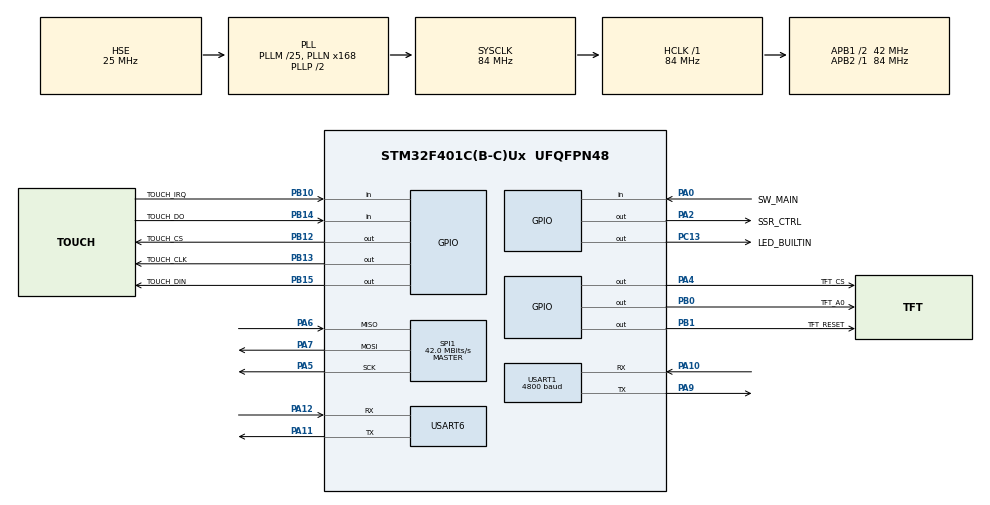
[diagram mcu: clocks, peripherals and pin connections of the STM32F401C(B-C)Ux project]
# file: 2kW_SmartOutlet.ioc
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Dma.Request0=USART1_RX
Dma.USART1_RX.0.Direction=DMA_PERIPH_TO_MEMORY
Dma.USART1_RX.0.FIFOMode=DMA_FIFOMODE_DISABLE
Dma.USART1_RX.0.Instance=DMA2_Stream2
Dma.USART1_RX.0.MemDataAlignment=DMA_MDATAALIGN_BYTE
Dma.USART1_RX.0.MemInc=DMA_MINC_ENABLE
Dma.USART1_RX.0.Mode=DMA_CIRCULAR
Dma.USART1_RX.0.PeriphDataAlignment=DMA_PDATAALIGN_BYTE
Dma.USART1_RX.0.PeriphInc=DMA_PINC_DISABLE
Dma.USART1_RX.0.Priority=DMA_PRIORITY_MEDIUM
Mcu.Family=STM32F4
Mcu.Name=STM32F401C(B-C)Ux
Mcu.Package=UFQFPN48
NVIC.DMA2_Stream2_IRQn=true\:0\:0\:false\:false\:true\:false\:true\:true
NVIC.PriorityGroup=NVIC_PRIORITYGROUP_4
NVIC.USART1_IRQn=true\:0\:0\:false\:false\:true\:true\:true\:true
NVIC.USART6_IRQn=true\:0\:0\:false\:false\:true\:true\:true\:true
PA0-WKUP.GPIO_Label=SW_MAIN
PA0-WKUP.GPIO_PuPd=GPIO_PULLDOWN
PA0-WKUP.Signal=GPIO_Input
PA10.Mode=Asynchronous
PA10.Signal=USART1_RX
PA11.Mode=Asynchronous
PA11.Signal=USART6_TX
PA12.Mode=Asynchronous
PA12.Signal=USART6_RX
PA13.Mode=Serial_Wire
PA13.Signal=SYS_JTMS-SWDIO
PA14.Mode=Serial_Wire
PA14.Signal=SYS_JTCK-SWCLK
PA2.GPIO_Label=SSR_CTRL
PA2.GPIO_PuPd=GPIO_PULLDOWN
PA2.GPIO_Speed=GPIO_SPEED_FREQ_VERY_HIGH
PA2.Signal=GPIO_Output
PA4.GPIO_Label=TFT_CS
PA4.GPIO_Speed=GPIO_SPEED_FREQ_VERY_HIGH
PA4.PinState=GPIO_PIN_RESET
PA4.Signal=GPIO_Output
PA5.Mode=Full_Duplex_Master
PA5.Signal=SPI1_SCK
PA6.Mode=Full_Duplex_Master
PA6.Signal=SPI1_MISO
PA7.Mode=Full_Duplex_Master
PA7.Signal=SPI1_MOSI
PA9.Mode=Asynchronous
PA9.Signal=USART1_TX
PB0.GPIO_Label=TFT_A0
PB0.GPIO_Speed=GPIO_SPEED_FREQ_VERY_HIGH
PB0.Signal=GPIO_Output
PB1.GPIO_Label=TFT_RESET
PB1.GPIO_Speed=GPIO_SPEED_FREQ_VERY_HIGH
PB1.Signal=GPIO_Output
PB10.GPIO_Label=TOUCH_IRQ
PB10.GPIO_PuPd=GPIO_PULLUP
PB10.Signal=GPIO_Input
PB12.GPIO_Label=TOUCH_CS
PB12.GPIO_Speed=GPIO_SPEED_FREQ_VERY_HIGH
PB12.Signal=GPIO_Output
PB13.GPIO_Label=TOUCH_CLK
PB13.GPIO_Speed=GPIO_SPEED_FREQ_VERY_HIGH
PB13.Signal=GPIO_Output
PB14.GPIO_Label=TOUCH_DO
PB14.GPIO_PuPd=GPIO_PULLUP
PB14.Signal=GPIO_Input
PB15.GPIO_Label=TOUCH_DIN
PB15.GPIO_Speed=GPIO_SPEED_FREQ_VERY_HIGH
PB15.Signal=GPIO_Output
PC13-ANTI_TAMP.GPIO_Label=LED_BUILTIN
PC13-ANTI_TAMP.Signal=GPIO_Output
PH0\ -\ OSC_IN.Mode=HSE-External-Oscillator
PH0\ -\ OSC_IN.Signal=RCC_OSC_IN
PH1\ -\ OSC_OUT.Mode=HSE-External-Oscillator
PH1\ -\ OSC_OUT.Signal=RCC_OSC_OUT
ProjectManager.HeapSize=0x200
ProjectManager.StackSize=0x400
ProjectManager.TargetToolchain=CMake
RCC.48MHZClocksFreq_Value=42000000
RCC.AHBFreq_Value=84000000
RCC.APB1CLKDivider=RCC_HCLK_DIV2
RCC.APB1Freq_Value=42000000
RCC.APB1TimFreq_Value=84000000
RCC.APB2Freq_Value=84000000
RCC.APB2TimFreq_Value=84000000
RCC.CortexFreq_Value=84000000
RCC.HCLKFreq_Value=84000000
RCC.HSE_VALUE=25000000
RCC.HSI_VALUE=16000000
RCC.LSE_VALUE=32768
RCC.PLLM=25
RCC.PLLN=168
RCC.PLLSourceVirtual=RCC_PLLSOURCE_HSE
RCC.SYSCLKFreq_VALUE=84000000
RCC.SYSCLKSource=RCC_SYSCLKSOURCE_PLLCLK
RCC.VCOOutputFreq_Value=168000000
SPI1.BaudRatePrescaler=SPI_BAUDRATEPRESCALER_2
SPI1.CalculateBaudRate=42.0 MBits/s
SPI1.Direction=SPI_DIRECTION_2LINES
SPI1.Mode=SPI_MODE_MASTER
SPI1.VirtualType=VM_MASTER
USART1.BaudRate=4800
USART1.Mode=MODE_RX
USART1.Parity=PARITY_EVEN
USART1.VirtualMode=VM_ASYNC
USART6.VirtualMode=VM_ASYNC
VP_RTC_VS_RTC_Activate.Mode=RTC_Enabled
VP_RTC_VS_RTC_Calendar.Mode=RTC_Calendar
board=custom

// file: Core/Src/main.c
/* USER CODE BEGIN Header */
/**
  ******************************************************************************
  * @file           : main.c
  * @brief          : Main program body
  ******************************************************************************
  * @attention
  *
  * Copyright (c) 2026 STMicroelectronics.
  * All rights reserved.
  *
  * This software is licensed under terms that can be found in the LICENSE file
  * in the root directory of this software component.
  * If no LICENSE file comes with this software, it is provided AS-IS.
  *
  ******************************************************************************
  */
/* USER CODE END Header */
#include "main.h"
#include "dma.h"
#include "rtc.h"
#include "spi.h"
#include "usart.h"
#include "gpio.h"

/* USER CODE BEGIN Includes */
#include "hlw8032.h"
#include <stdio.h>      /* snprintf, for the debug line on USART6 */
/* USER CODE END Includes */

/* USER CODE BEGIN PD */
#define HLW_UART         huart1
#define HLW_RX_SIZE    128u                     /* ~293 ms of data at 4800 8E1        */
#define HLW_FRAME_LEN    HLW8032_FRAME_LENGTH

/* Byte positions inside a frame (datasheet REV 1.5) */
#define HLW_CHECK_BYTE     0x5Au                  /* value of Check REG                 */
#define HLW_IDX_CHECK      1u                     /* Check REG                          */
#define HLW_IDX_SUM_FIRST  2u                     /* checksum covers bytes 2 ...        */
#define HLW_IDX_SUM_LAST   22u                    /* ... to 22                          */
#define HLW_IDX_CHECKSUM   23u                    /* CheckSum REG                       */
/* USER CODE END PD */

/* USER CODE BEGIN PV */
/** Set the coefficient to be matched with hardware configuration
 *  Schematic default is 1.88 (V_COEF) and 1.0 (I_COEF)
 */
static const HLW8032_Config_t hlw_cfg = {
  .voltage_coef = 1.92f,
  .current_coef = 0.35
};
static HLW8032_Data_t hlw_data;                   /* latest measurements (read this)    */

/* DMA ring buffer: hardware writes here, we read behind it */
static uint8_t  hlw_ring[HLW_RX_SIZE];
static uint16_t hlw_read_idx;                     /* next byte WE will read             */

/* Sliding window holding the last (up to) 24 bytes */
static uint8_t  hlw_window[HLW_FRAME_LEN];
static uint8_t  hlw_window_len;                   /* how many bytes are in the window   */

static volatile bool hlw_uart_error;              /* set in the ISR, handled in the loop */

/* Debug counters - watch them in the debugger */
static uint32_t hlw_frames_ok;                    /* frames accepted by the parser      */
static uint32_t hlw_frames_rejected;              /* frames the chip flagged as bad     */
static uint32_t hlw_bytes_dropped;                /* bytes skipped while re-aligning    */
static uint32_t hlw_dma_restarts;                 /* DMA restarted after a UART error   */
static uint32_t hlw_bytes_rx;                     /* total bytes received from the HLW8032 */
static volatile uint32_t hlw_uart_errors;         /* number of UART error callbacks     */
static volatile uint32_t hlw_last_error_code;     /* PE=0x01 NE=0x02 FE=0x04 ORE=0x08 DMA=0x10 */

/* USER CODE END PV */

void SystemClock_Config(void);
/* USER CODE BEGIN PFP */
void LED_BUILTIN_Init() {
  HAL_GPIO_WritePin(GPIOC, GPIO_PIN_13, 1);
  HAL_GPIO_TogglePin(GPIOC, GPIO_PIN_13);
  HAL_Delay(150);
  HAL_GPIO_TogglePin(GPIOC, GPIO_PIN_13);
  HAL_Delay(200);
  HAL_GPIO_TogglePin(GPIOC, GPIO_PIN_13);
  HAL_Delay(150);
  HAL_GPIO_TogglePin(GPIOC, GPIO_PIN_13);
  HAL_Delay(200);
  HAL_GPIO_TogglePin(GPIOC, GPIO_PIN_13);
  HAL_Delay(500);
  HAL_GPIO_TogglePin(GPIOC, GPIO_PIN_13);
}

/* ---- Step 1: where is the DMA right now? -------------------------------- */

/**@brief
 *  Index in hlw_ring where the DMA will write its NEXT byte.
 */
static uint16_t hlw_dma_write_index(void)
{
  /* NDTR = bytes the DMA still has to write before it wraps; counts down from RING_SIZE */
  uint32_t remaining = __HAL_DMA_GET_COUNTER(HLW_UART.hdmarx);

  if (remaining == 0u || remaining >= HLW_RX_SIZE) {
    return 0u;                                    /* just started or just wrapped */
  }
  return (uint16_t)(HLW_RX_SIZE - remaining);
}

/* ---- Step 2: window helpers --------------------------------------------- */

/**@brief
 *  Add one byte to the window. If the window is full, the oldest byte is dropped (slide).
 */
static void hlw_window_push(uint8_t byte)
{
  if (hlw_window_len >= HLW_FRAME_LEN) {
    memmove(hlw_window, hlw_window + 1, HLW_FRAME_LEN - 1u);
    hlw_window_len = (uint8_t)(HLW_FRAME_LEN - 1u);
    hlw_bytes_dropped++;
  }
  hlw_window[hlw_window_len] = byte;
  hlw_window_len++;
}

/* Does the (full) window look like a real frame?  Only header + checksum are tested here;
 * the State REG is judged later by HLW8032_Parse_Data(). */
static bool hlw_window_is_frame(void)
{
  /* 1) Check REG must be 0x5A */
  if (hlw_window[HLW_IDX_CHECK] != HLW_CHECK_BYTE) {
    return false;
  }

  /* 2) Low 8 bits of the sum of bytes 2..22 must equal byte 23 */
  uint8_t sum = 0u;
  for (uint32_t i = HLW_IDX_SUM_FIRST; i <= HLW_IDX_SUM_LAST; i++) {
    sum = (uint8_t)(sum + hlw_window[i]);
  }
  return (sum == hlw_window[HLW_IDX_CHECKSUM]);
}

/* ---- Step 3: one byte in, maybe one frame out --------------------------- */
/**@brief
 * Feed ONE received byte into the frame finder.            [important]
 *
 * Idea: after every byte, ask "do the last 24 bytes form a frame?"
 *   - yes -> parse it and EMPTY the window. The next frame then starts exactly at the
 *            next byte, so we stay aligned without doing anything else.
 *   - no  -> do nothing; the next byte will push the oldest one out (slide by one) and we
 *            ask again. This is how we re-align after power-up in the middle of a frame,
 *            a lost byte or a corrupted byte (we lose at most that one frame).
 *
 * Returns true only if a frame was found AND accepted by HLW8032_Parse_Data().
 */
static bool hlw_feed_byte(uint8_t byte)
{
  /* 1) store the byte */
  hlw_window_push(byte);

  /* 2) window not full yet -> nothing to check */
  if (hlw_window_len < HLW_FRAME_LEN) {
    return false;
  }

  /* 3) full window but not a frame -> keep sliding on the next byte */
  if (!hlw_window_is_frame()) {
    return false;
  }

  /* 4) it is a frame: decode it into hlw_data */
  HLW8032_Status_t status = HLW8032_Parse_Data(hlw_window, HLW_FRAME_LEN, &hlw_data, &hlw_cfg);

  /* 5) these 24 bytes are used up, whatever the parser said */
  hlw_window_len = 0u;

  if (status == HLW8032_OK) {
    hlw_frames_ok++;
    return true;
  }
  hlw_frames_rejected++;                          /* e.g. State REG 0xAA: chip reports an error */
  return false;
}

/* ---- Step 4: drain the ring buffer -------------------------------------- */
/**@brief
 * Read every byte the DMA has added to the ring since the last call.   [important]
 *
 * Two indices walk around the ring:
 *     hlw_read_idx   - where we stopped reading last time (ours)
 *     write index    - where the DMA will write next (hardware)
 * Everything between them is new data. We read it in order and wrap at the end of the array.
 * Only bytes BEFORE the write index are touched, so the DMA writing at the same time
 * cannot give us a half-written byte.
 *
 * Returns true if at least one valid frame was decoded.
 */
static bool hlw_process_new_bytes(void)
{
  bool new_frame = false;

  /* 1) take a snapshot of the DMA position */
  uint16_t write_idx = hlw_dma_write_index();

  /* 2) feed all bytes from our position up to the snapshot */
  while (hlw_read_idx != write_idx) {
    hlw_bytes_rx++;
    if (hlw_feed_byte(hlw_ring[hlw_read_idx])) {
      new_frame = true;
    }

    /* 3) advance, wrapping at the end of the ring */
    hlw_read_idx++;
    if (hlw_read_idx >= HLW_RX_SIZE) {
      hlw_read_idx = 0u;
    }
  }
  return new_frame;
}

/* ---- Step 5: error recovery --------------------------------------------- */
/**@brief
 * Restart the DMA after a UART error.
 *
 * On STM32F4 HAL, a parity / framing / noise / overrun error during DMA reception makes HAL
 * STOP the DMA and call HAL_UART_ErrorCallback(). Without a restart we would never receive
 * another byte, so we re-arm it here.
 */
static void hlw_restart_dma(void)
{
  /* 1) clear the flag first, so a new error during the restart is not lost */
  hlw_uart_error = false;

  /* 2) make sure the DMA is really stopped */
  (void)HAL_UART_DMAStop(&HLW_UART);

  /* 3) the DMA will write from index 0 again, and the partial frame is useless */
  hlw_read_idx   = 0u;
  hlw_window_len = 0u;

  /* 4) start again; if HAL is busy, try again on the next loop pass */
  if (HAL_UART_Receive_DMA(&HLW_UART, hlw_ring, HLW_RX_SIZE) == HAL_OK) {
    hlw_dma_restarts++;
  } else {
    hlw_uart_error = true;
  }
}

/**@brief
 * Start receiving HLW8032 frames. Call once, after MX_USARTx_Init().
 * Returns HAL_OK if the circular DMA reception was started.
 */
static HAL_StatusTypeDef hlw_start(void)
{
  HLW8032_Init(&hlw_data);
  hlw_read_idx   = 0u;
  hlw_window_len = 0u;
  hlw_uart_error = false;

  return HAL_UART_Receive_DMA(&HLW_UART, hlw_ring, HLW_RX_SIZE);
}

/**@brief
 * Call on EVERY pass of the main loop.                      [important]
 *
 *   1) decode the bytes received since the last call   (also the ones that arrived just
 *      before an error, so nothing already received is thrown away)
 *   2) if the UART reported an error, restart the DMA
 *
 * Returns true if at least one new valid frame was decoded; the new values are then in
 * hlw_data (voltage, current, power_active, power_factor, ...).
 *
 * It must be called more often than the ring fills up (~290 ms), so avoid long blocking
 * code in the main loop (e.g. one huge polled SPI transfer to the ILI9341 or HAL_Delay).
 */
static bool hlw_poll(void)
{
  bool new_frame = hlw_process_new_bytes();

  if (hlw_uart_error) {
    hlw_restart_dma();
  }
  return new_frame;
}

/**@brief
 * HAL calls this when the UART detects an error (parity, framing, noise, overrun).
 * Only a flag is set here; the real work is done by hlw_restart_dma() from the main loop,
 * so the interrupt stays short.
 * If another module already defines HAL_UART_ErrorCallback, merge this into it.
 */
void HAL_UART_ErrorCallback(UART_HandleTypeDef *huart)
{
  if (huart->Instance == HLW_UART.Instance) {
    hlw_uart_errors++;
    hlw_last_error_code = HAL_UART_GetError(huart);
    hlw_uart_error = true;
  }
}

/* HLW8032 DEBUG BEGIN ------------------------------------------------------ */
/**
 * Debug output: one text line per update, sent on USART6 with interrupt-driven TX.
 *
 * Example line:
 *   V=220.15V I=0.452A P=95.30W S=99.50VA PF=0.96 | upd=VIP ovf=--- | rx=9876 ok=123 rej=0 drop=13 rst=0 err=0(0x00)
 *
 *   upd  = values refreshed by the last frame (V / I / P, '-' = not refreshed)
 *   ovf  = values the chip reported as overflow, i.e. ~0 (V / I / P, '-' = normal)
 *   rx   = bytes received from the HLW8032 (must keep growing, ~436 per second)
 *   ok / rej / drop / rst = frame counters. Healthy link: rej=0, drop small and constant, rst=0.
 *   err  = UART errors seen so far (last error code in hex: PE=01 NE=02 FE=04 ORE=08 DMA=10)
 *
 * The line is printed every HLW_DBG_PERIOD_MS even when NO frame has arrived (heartbeat),
 * so a missing HLW8032 shows up as rx=0 / ok=0 instead of a silent terminal.
 *
 * CubeMX: USART6 115200 8N1 and NVIC "USART6 global interrupt" enabled.
 * Floats are printed as fixed-point integers on purpose: printf("%f") prints nothing on
 * newlib-nano unless "-u _printf_float" is added to the linker flags.
 */
#define DBG_UART           huart6
#define HLW_DBG_PERIOD_MS  500u     /* minimum time between lines; 0 = print every frame */

static char     hlw_dbg_line[200];  /* must stay untouched until the interrupt TX has finished */
static uint32_t hlw_dbg_last_ms;    /* time of the last line that was started */

/* value * scale, rounded, as an integer (the HLW8032 values are never negative) */
static uint32_t hlw_scaled(float value, uint32_t scale)
{
  if (value < 0.0f) {
    value = 0.0f;
  }
  return (uint32_t)(value * (float)scale + 0.5f);
}

/* 'on' -> the letter, otherwise '-' */
static char hlw_flag(bool on, char letter)
{
  return on ? letter : '-';
}

/**
 * One-time test message, sent at start-up through the SAME interrupt-driven path.
 * If it never shows up in the terminal the problem is USART6 itself (pin, baud, wiring,
 * NVIC), not the HLW8032.
 */
static void hlw_debug_hello(void)
{
  static const char msg[] = "\r\nHLW8032 debug on USART6 ready\r\n";
  (void)HAL_UART_Transmit_IT(&DBG_UART, (uint8_t *)msg, (uint16_t)(sizeof(msg) - 1u));
}

/**
 * Print the latest HLW8032 data on DBG_UART without blocking.
 * It silently does nothing when it is too early (throttle) or when the previous line
 * is still being sent.
 */
static void hlw_debug_print(const HLW8032_Data_t *m)
{
  /* 1) throttle: not more than one line per HLW_DBG_PERIOD_MS */
  uint32_t now = HAL_GetTick();
  if (HLW_DBG_PERIOD_MS != 0u && (now - hlw_dbg_last_ms) < HLW_DBG_PERIOD_MS) {
    return;
  }

  /* 2) previous line still being sent by the interrupt? Do NOT touch the buffer then */
  if (DBG_UART.gState != HAL_UART_STATE_READY) {
    return;
  }

  /* 3) floats -> fixed-point integers */
  uint32_t v  = hlw_scaled(m->voltage,         100u);   /* V,  2 decimals */
  uint32_t i  = hlw_scaled(m->current,        1000u);   /* A,  3 decimals */
  uint32_t p  = hlw_scaled(m->power_active,    100u);   /* W,  2 decimals */
  uint32_t s  = hlw_scaled(m->power_apparent,  100u);   /* VA, 2 decimals */
  uint32_t pf = hlw_scaled(m->power_factor,    100u);   /*     2 decimals */

  /* 4) build the text line */
  int len = snprintf(hlw_dbg_line, sizeof(hlw_dbg_line),
                     "V=%lu.%02luV I=%lu.%03luA P=%lu.%02luW S=%lu.%02luVA PF=%lu.%02lu"
                     " | upd=%c%c%c ovf=%c%c%c"
                     " | rx=%lu ok=%lu rej=%lu drop=%lu rst=%lu err=%lu(0x%02lX)\r\n",
                     (unsigned long)(v / 100u),   (unsigned long)(v % 100u),
                     (unsigned long)(i / 1000u),  (unsigned long)(i % 1000u),
                     (unsigned long)(p / 100u),   (unsigned long)(p % 100u),
                     (unsigned long)(s / 100u),   (unsigned long)(s % 100u),
                     (unsigned long)(pf / 100u),  (unsigned long)(pf % 100u),
                     hlw_flag(m->voltage_updated, 'V'),
                     hlw_flag(m->current_updated, 'I'),
                     hlw_flag(m->power_updated,   'P'),
                     hlw_flag(m->voltage_overflow, 'V'),
                     hlw_flag(m->current_overflow, 'I'),
                     hlw_flag(m->power_overflow,   'P'),
                     (unsigned long)hlw_bytes_rx,
                     (unsigned long)hlw_frames_ok,
                     (unsigned long)hlw_frames_rejected,
                     (unsigned long)hlw_bytes_dropped,
                     (unsigned long)hlw_dma_restarts,
                     (unsigned long)hlw_uart_errors,
                     (unsigned long)hlw_last_error_code);
  if (len <= 0) {
    return;
  }
  if ((size_t)len >= sizeof(hlw_dbg_line)) {
    len = (int)sizeof(hlw_dbg_line) - 1;                 /* line was truncated */
  }

  /* 5) start the interrupt transmission; it returns immediately */
  if (HAL_UART_Transmit_IT(&DBG_UART, (uint8_t *)hlw_dbg_line, (uint16_t)len) == HAL_OK) {
    hlw_dbg_last_ms = now;
  }
}
/* HLW8032 DEBUG END -------------------------------------------------------- */
/* USER CODE END PFP */

int main(void)
{

  /* MCU Configuration--------------------------------------------------------*/

  /* Reset of all peripherals, Initializes the Flash interface and the Systick. */
  HAL_Init();

  /* Configure the system clock */
  SystemClock_Config();

  /* Initialize all configured peripherals */
  MX_GPIO_Init();
  MX_DMA_Init();
  MX_USART1_UART_Init();
  MX_RTC_Init();
  MX_SPI1_Init();
  MX_USART6_UART_Init();
  /* USER CODE BEGIN 2 */
  /**@brief
   *  LED INIT BY TOGGLE
   *  500ms DELAY
  **/
  LED_BUILTIN_Init();

  /* Start receiving HLW8032 frames (UART + circular DMA) */
  if (hlw_start() != HAL_OK) {
    Error_Handler();
  }

  /* Test line on USART6: proves the debug path works before any HLW8032 data arrives */
  hlw_debug_hello();
  /* USER CODE END 2 */

  /* Infinite loop */
  while (1)
  {

    /* USER CODE BEGIN 3 */
    /* 1) decode whatever the HLW8032 sent since the last pass */
    if (hlw_poll()) {
      /* A new valid frame was decoded: hlw_data holds the latest measurements.
         Later: update the display, relay logic, ... */
    }

    /* 2) debug heartbeat: prints every HLW_DBG_PERIOD_MS even if no frame has arrived,
          so a silent HLW8032 is visible as rx=0 / ok=0 instead of a silent terminal */
    hlw_debug_print(&hlw_data);
  }
  /* USER CODE END 3 */
}

void SystemClock_Config(void)
{
  RCC_OscInitTypeDef RCC_OscInitStruct = {0};
  RCC_ClkInitTypeDef RCC_ClkInitStruct = {0};

  /** Configure the main internal regulator output voltage
  */
  __HAL_RCC_PWR_CLK_ENABLE();
  __HAL_PWR_VOLTAGESCALING_CONFIG(PWR_REGULATOR_VOLTAGE_SCALE2);

  /** Initializes the RCC Oscillators according to the specified parameters
  * in the RCC_OscInitTypeDef structure.
  */
  RCC_OscInitStruct.OscillatorType = RCC_OSCILLATORTYPE_LSI|RCC_OSCILLATORTYPE_HSE;
  RCC_OscInitStruct.HSEState = RCC_HSE_ON;
  RCC_OscInitStruct.LSIState = RCC_LSI_ON;
  RCC_OscInitStruct.PLL.PLLState = RCC_PLL_ON;
  RCC_OscInitStruct.PLL.PLLSource = RCC_PLLSOURCE_HSE;
  RCC_OscInitStruct.PLL.PLLM = 25;
  RCC_OscInitStruct.PLL.PLLN = 168;
  RCC_OscInitStruct.PLL.PLLP = RCC_PLLP_DIV2;
  RCC_OscInitStruct.PLL.PLLQ = 4;
  if (HAL_RCC_OscConfig(&RCC_OscInitStruct) != HAL_OK)
  {
    Error_Handler();
  }

  /** Initializes the CPU, AHB and APB buses clocks
  */
  RCC_ClkInitStruct.ClockType = RCC_CLOCKTYPE_HCLK|RCC_CLOCKTYPE_SYSCLK
                              |RCC_CLOCKTYPE_PCLK1|RCC_CLOCKTYPE_PCLK2;
  RCC_ClkInitStruct.SYSCLKSource = RCC_SYSCLKSOURCE_PLLCLK;
  RCC_ClkInitStruct.AHBCLKDivider = RCC_SYSCLK_DIV1;
  RCC_ClkInitStruct.APB1CLKDivider = RCC_HCLK_DIV2;
  RCC_ClkInitStruct.APB2CLKDivider = RCC_HCLK_DIV1;

  if (HAL_RCC_ClockConfig(&RCC_ClkInitStruct, FLASH_LATENCY_2) != HAL_OK)
  {
    Error_Handler();
  }
}

void Error_Handler(void)
{
  __disable_irq();
  while (1)
  {
  }
}
